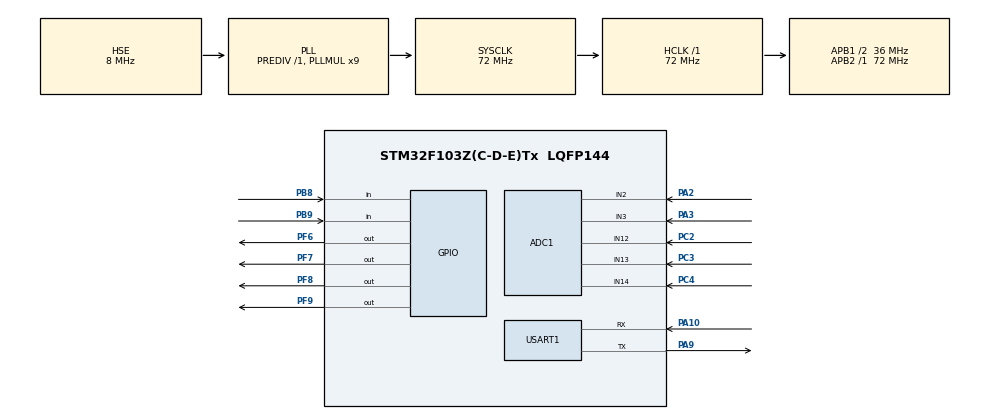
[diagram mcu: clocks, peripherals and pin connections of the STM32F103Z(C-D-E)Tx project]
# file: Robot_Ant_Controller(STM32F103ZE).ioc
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ADC1.Channel-0\#ChannelRegularConversion=ADC_CHANNEL_2
ADC1.Channel-1\#ChannelRegularConversion=ADC_CHANNEL_3
ADC1.Channel-2\#ChannelRegularConversion=ADC_CHANNEL_12
ADC1.Channel-3\#ChannelRegularConversion=ADC_CHANNEL_13
ADC1.Channel-4\#ChannelRegularConversion=ADC_CHANNEL_14
ADC1.ContinuousConvMode=ENABLE
ADC1.InjNumberOfConversion=0
ADC1.NbrOfConversion=5
ADC1.NbrOfConversionFlag=1
ADC1.Rank-0\#ChannelRegularConversion=1
ADC1.Rank-1\#ChannelRegularConversion=2
ADC1.Rank-2\#ChannelRegularConversion=3
ADC1.Rank-3\#ChannelRegularConversion=4
ADC1.Rank-4\#ChannelRegularConversion=5
ADC1.SamplingTime-0\#ChannelRegularConversion=ADC_SAMPLETIME_41CYCLES_5
ADC1.SamplingTime-1\#ChannelRegularConversion=ADC_SAMPLETIME_41CYCLES_5
ADC1.SamplingTime-2\#ChannelRegularConversion=ADC_SAMPLETIME_41CYCLES_5
ADC1.SamplingTime-3\#ChannelRegularConversion=ADC_SAMPLETIME_41CYCLES_5
ADC1.SamplingTime-4\#ChannelRegularConversion=ADC_SAMPLETIME_41CYCLES_5
ADC1.master=1
Dma.ADC1.0.Direction=DMA_PERIPH_TO_MEMORY
Dma.ADC1.0.Instance=DMA1_Channel1
Dma.ADC1.0.MemDataAlignment=DMA_MDATAALIGN_WORD
Dma.ADC1.0.MemInc=DMA_MINC_ENABLE
Dma.ADC1.0.Mode=DMA_CIRCULAR
Dma.ADC1.0.PeriphDataAlignment=DMA_PDATAALIGN_WORD
Dma.ADC1.0.PeriphInc=DMA_PINC_DISABLE
Dma.ADC1.0.Priority=DMA_PRIORITY_LOW
Dma.Request0=ADC1
Mcu.Family=STM32F1
Mcu.Name=STM32F103Z(C-D-E)Tx
Mcu.Package=LQFP144
NVIC.DMA1_Channel1_IRQn=true\:0\:0\:false\:false\:true\:false\:true\:true
NVIC.PriorityGroup=NVIC_PRIORITYGROUP_4
OSC_IN.Mode=HSE-External-Oscillator
OSC_IN.Signal=RCC_OSC_IN
OSC_OUT.Mode=HSE-External-Oscillator
OSC_OUT.Signal=RCC_OSC_OUT
PA10.Mode=Asynchronous
PA10.Signal=USART1_RX
PA13.Mode=JTAG_5_pins
PA13.Signal=SYS_JTMS-SWDIO
PA14.Mode=JTAG_5_pins
PA14.Signal=SYS_JTCK-SWCLK
PA15.Mode=JTAG_5_pins
PA15.Signal=SYS_JTDI
PA2.Signal=ADCx_IN2
PA3.Signal=ADCx_IN3
PA9.Mode=Asynchronous
PA9.Signal=USART1_TX
PB3.Mode=JTAG_5_pins
PB3.Signal=SYS_JTDO-TRACESWO
PB4.Mode=JTAG_5_pins
PB4.Signal=SYS_NJTRST
PB8.Signal=GPIO_Input
PB9.Signal=GPIO_Input
PC2.Signal=ADCx_IN12
PC3.Signal=ADCx_IN13
PC4.Signal=ADCx_IN14
PF6.Signal=GPIO_Output
PF7.Signal=GPIO_Output
PF8.Signal=GPIO_Output
PF9.Signal=GPIO_Output
ProjectManager.HeapSize=0x200
ProjectManager.StackSize=0x400
ProjectManager.TargetToolchain=MDK-ARM V5
RCC.ADCPresc=RCC_ADCPCLK2_DIV6
RCC.AHBFreq_Value=72000000
RCC.APB1CLKDivider=RCC_HCLK_DIV2
RCC.APB1Freq_Value=36000000
RCC.APB1TimFreq_Value=72000000
RCC.APB2Freq_Value=72000000
RCC.APB2TimFreq_Value=72000000
RCC.HCLKFreq_Value=72000000
RCC.PLLMUL=RCC_PLL_MUL9
RCC.PLLSourceVirtual=RCC_PLLSOURCE_HSE
RCC.SYSCLKFreq_VALUE=72000000
RCC.SYSCLKSource=RCC_SYSCLKSOURCE_PLLCLK
RCC.USBFreq_Value=72000000
SH.ADCx_IN12.0=ADC1_IN12,IN12
SH.ADCx_IN13.0=ADC1_IN13,IN13
SH.ADCx_IN14.0=ADC1_IN14,IN14
SH.ADCx_IN2.0=ADC1_IN2,IN2
SH.ADCx_IN3.0=ADC1_IN3,IN3
USART1.VirtualMode=VM_ASYNC
board=custom

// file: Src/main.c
/* USER CODE BEGIN Header */
/**
  ******************************************************************************
  * @file           : main.c
  * @brief          : Main program body
  ******************************************************************************
  * @attention
  *
  * Copyright (c) 2022 STMicroelectronics.
  * All rights reserved.
  *
  * This software is licensed under terms that can be found in the LICENSE file
  * in the root directory of this software component.
  * If no LICENSE file comes with this software, it is provided AS-IS.
  *
  ******************************************************************************
  */
/* USER CODE END Header */
#include "main.h"

ADC_HandleTypeDef hadc1;
DMA_HandleTypeDef hdma_adc1;

UART_HandleTypeDef huart1;

/* USER CODE BEGIN PV */
/* Private variables ---------------------------------------------------------*/

/* USER CODE END PV */

void SystemClock_Config(void);
static void MX_GPIO_Init(void);
static void MX_DMA_Init(void);
static void MX_ADC1_Init(void);
static void MX_USART1_UART_Init(void);
/* USER CODE BEGIN PFP */
/* Private function prototypes -----------------------------------------------*/

/* USER CODE END PFP */

/* USER CODE BEGIN 0 */
uint8_t str[7];
uint8_t sw1=0,sw2=0,Speed=0,delay=0,sw_clip=0;
uint32_t adc_temp[5];
uint32_t X1_Value=2048,Y1_Value=2048,X2_Value=0,Y2_Value=0,VR_Value=0;

void HAL_ADC_ConvCpltCallback(ADC_HandleTypeDef* hadc)
{
	X1_Value = adc_temp[0];
	Y1_Value = adc_temp[1];
	X2_Value = adc_temp[2];
	Y2_Value = adc_temp[3];
	VR_Value = adc_temp[4];
}

long map(long x, long in_min, long in_max, long out_min, long out_max)
{
  return (x - in_min) * (out_max - out_min) / (in_max - in_min) + out_min;
}

/* USER CODE END 0 */

int main(void)
{

  /* MCU Configuration--------------------------------------------------------*/

  /* Reset of all peripherals, Initializes the Flash interface and the Systick. */
  HAL_Init();

  /* Configure the system clock */
  SystemClock_Config();

  /* Initialize all configured peripherals */
  MX_GPIO_Init();
  MX_DMA_Init();
  MX_ADC1_Init();
  MX_USART1_UART_Init();
  /* USER CODE BEGIN 2 */
	HAL_ADC_Start_DMA(&hadc1,adc_temp,5);
	str[0] = 'S';
	HAL_GPIO_WritePin(GPIOF,GPIO_PIN_6, GPIO_PIN_RESET);
	HAL_GPIO_WritePin(GPIOF,GPIO_PIN_7, GPIO_PIN_RESET);
	HAL_GPIO_WritePin(GPIOF,GPIO_PIN_8, GPIO_PIN_RESET);
	HAL_GPIO_WritePin(GPIOF,GPIO_PIN_9, GPIO_PIN_RESET);
  /* USER CODE END 2 */

  /* Infinite loop */
  /* USER CODE BEGIN WHILE */
  while (1)
  {
		sw1 = HAL_GPIO_ReadPin(GPIOB,GPIO_PIN_8);
		sw2 = HAL_GPIO_ReadPin(GPIOB,GPIO_PIN_9);

		uint8_t angle1 = map(X2_Value,0,4095,0,180);
		uint8_t angle2 = map(Y2_Value,0,4095,0,180);
		uint8_t angle3 = map(VR_Value,0,4040,0,180);
		if(sw2==1)
		{
			sw_clip=~sw_clip;
			sw_clip&=0x01;
			while(HAL_GPIO_ReadPin(GPIOB,GPIO_PIN_9));
		}

		if(sw1==1)
		{ str[0] = 'S'; }
		else if(Y1_Value<=1000)
		{
			str[0] = 'F';
			if(delay++>=50)
			{
				delay = 0;
				if(Speed<5)
				{ Speed++; }
				HAL_GPIO_TogglePin(GPIOF,GPIO_PIN_8);
				HAL_GPIO_TogglePin(GPIOF,GPIO_PIN_7);
			}
		}
		else if(Y1_Value>=3000)
		{
			if(delay++>=50)
			{
				delay = 0;
				if(Speed>0)
				{ Speed--; }
				HAL_GPIO_TogglePin(GPIOF,GPIO_PIN_6);
				HAL_GPIO_TogglePin(GPIOF,GPIO_PIN_9);
			}
		}
		else if(X1_Value>=3000)
		{
			str[0] = 'R';
			if(delay++>=30)
			{
				delay = 0;
				HAL_GPIO_TogglePin(GPIOF,GPIO_PIN_6);
				HAL_GPIO_TogglePin(GPIOF,GPIO_PIN_7);
			}
		}
		else if(X1_Value<=1300)
		{
			str[0] = 'L';
			if(delay++>=30)
			{
				delay = 0;
				HAL_GPIO_TogglePin(GPIOF,GPIO_PIN_8);
				HAL_GPIO_TogglePin(GPIOF,GPIO_PIN_9);
			}
		}
		else
		{
			HAL_GPIO_WritePin(GPIOF,GPIO_PIN_6,GPIO_PIN_RESET);
			HAL_GPIO_WritePin(GPIOF,GPIO_PIN_7,GPIO_PIN_RESET);
			HAL_GPIO_WritePin(GPIOF,GPIO_PIN_8,GPIO_PIN_RESET);
			HAL_GPIO_WritePin(GPIOF,GPIO_PIN_9,GPIO_PIN_RESET);
		}

		str[1] = Speed;
		str[2] = angle1;
		str[3] = angle2;
		str[4] = angle3;
		str[5] = sw_clip;
		str[6] = 'E';
		HAL_UART_Transmit(&huart1,str,7,0xffF);
		HAL_Delay(10);
    /* USER CODE END WHILE */

  }
}

void SystemClock_Config(void)
{
  RCC_OscInitTypeDef RCC_OscInitStruct = {0};
  RCC_ClkInitTypeDef RCC_ClkInitStruct = {0};
  RCC_PeriphCLKInitTypeDef PeriphClkInit = {0};

  /** Initializes the RCC Oscillators according to the specified parameters
  * in the RCC_OscInitTypeDef structure.
  */
  RCC_OscInitStruct.OscillatorType = RCC_OSCILLATORTYPE_HSE;
  RCC_OscInitStruct.HSEState = RCC_HSE_ON;
  RCC_OscInitStruct.HSEPredivValue = RCC_HSE_PREDIV_DIV1;
  RCC_OscInitStruct.HSIState = RCC_HSI_ON;
  RCC_OscInitStruct.PLL.PLLState = RCC_PLL_ON;
  RCC_OscInitStruct.PLL.PLLSource = RCC_PLLSOURCE_HSE;
  RCC_OscInitStruct.PLL.PLLMUL = RCC_PLL_MUL9;
  if (HAL_RCC_OscConfig(&RCC_OscInitStruct) != HAL_OK)
  {
    Error_Handler();
  }

  /** Initializes the CPU, AHB and APB buses clocks
  */
  RCC_ClkInitStruct.ClockType = RCC_CLOCKTYPE_HCLK|RCC_CLOCKTYPE_SYSCLK
                              |RCC_CLOCKTYPE_PCLK1|RCC_CLOCKTYPE_PCLK2;
  RCC_ClkInitStruct.SYSCLKSource = RCC_SYSCLKSOURCE_PLLCLK;
  RCC_ClkInitStruct.AHBCLKDivider = RCC_SYSCLK_DIV1;
  RCC_ClkInitStruct.APB1CLKDivider = RCC_HCLK_DIV2;
  RCC_ClkInitStruct.APB2CLKDivider = RCC_HCLK_DIV1;

  if (HAL_RCC_ClockConfig(&RCC_ClkInitStruct, FLASH_LATENCY_2) != HAL_OK)
  {
    Error_Handler();
  }
  PeriphClkInit.PeriphClockSelection = RCC_PERIPHCLK_ADC;
  PeriphClkInit.AdcClockSelection = RCC_ADCPCLK2_DIV6;
  if (HAL_RCCEx_PeriphCLKConfig(&PeriphClkInit) != HAL_OK)
  {
    Error_Handler();
  }
}

static void MX_ADC1_Init(void)
{

  ADC_ChannelConfTypeDef sConfig = {0};

  /** Common config
  */
  hadc1.Instance = ADC1;
  hadc1.Init.ScanConvMode = ADC_SCAN_ENABLE;
  hadc1.Init.ContinuousConvMode = ENABLE;
  hadc1.Init.DiscontinuousConvMode = DISABLE;
  hadc1.Init.ExternalTrigConv = ADC_SOFTWARE_START;
  hadc1.Init.DataAlign = ADC_DATAALIGN_RIGHT;
  hadc1.Init.NbrOfConversion = 5;
  if (HAL_ADC_Init(&hadc1) != HAL_OK)
  {
    Error_Handler();
  }

  /** Configure Regular Channel
  */
  sConfig.Channel = ADC_CHANNEL_2;
  sConfig.Rank = ADC_REGULAR_RANK_1;
  sConfig.SamplingTime = ADC_SAMPLETIME_41CYCLES_5;
  if (HAL_ADC_ConfigChannel(&hadc1, &sConfig) != HAL_OK)
  {
    Error_Handler();
  }

  /** Configure Regular Channel
  */
  sConfig.Channel = ADC_CHANNEL_3;
  sConfig.Rank = ADC_REGULAR_RANK_2;
  if (HAL_ADC_ConfigChannel(&hadc1, &sConfig) != HAL_OK)
  {
    Error_Handler();
  }

  /** Configure Regular Channel
  */
  sConfig.Channel = ADC_CHANNEL_12;
  sConfig.Rank = ADC_REGULAR_RANK_3;
  if (HAL_ADC_ConfigChannel(&hadc1, &sConfig) != HAL_OK)
  {
    Error_Handler();
  }

  /** Configure Regular Channel
  */
  sConfig.Channel = ADC_CHANNEL_13;
  sConfig.Rank = ADC_REGULAR_RANK_4;
  if (HAL_ADC_ConfigChannel(&hadc1, &sConfig) != HAL_OK)
  {
    Error_Handler();
  }

  /** Configure Regular Channel
  */
  sConfig.Channel = ADC_CHANNEL_14;
  sConfig.Rank = ADC_REGULAR_RANK_5;
  if (HAL_ADC_ConfigChannel(&hadc1, &sConfig) != HAL_OK)
  {
    Error_Handler();
  }

}

static void MX_USART1_UART_Init(void)
{

  huart1.Instance = USART1;
  huart1.Init.BaudRate = 115200;
  huart1.Init.WordLength = UART_WORDLENGTH_8B;
  huart1.Init.StopBits = UART_STOPBITS_1;
  huart1.Init.Parity = UART_PARITY_NONE;
  huart1.Init.Mode = UART_MODE_TX_RX;
  huart1.Init.HwFlowCtl = UART_HWCONTROL_NONE;
  huart1.Init.OverSampling = UART_OVERSAMPLING_16;
  if (HAL_UART_Init(&huart1) != HAL_OK)
  {
    Error_Handler();
  }

}

static void MX_DMA_Init(void)
{

  /* DMA controller clock enable */
  __HAL_RCC_DMA1_CLK_ENABLE();

  /* DMA interrupt init */
  /* DMA1_Channel1_IRQn interrupt configuration */
  HAL_NVIC_SetPriority(DMA1_Channel1_IRQn, 0, 0);
  HAL_NVIC_EnableIRQ(DMA1_Channel1_IRQn);

}

static void MX_GPIO_Init(void)
{
  GPIO_InitTypeDef GPIO_InitStruct = {0};

  /* GPIO Ports Clock Enable */
  __HAL_RCC_GPIOF_CLK_ENABLE();
  __HAL_RCC_GPIOC_CLK_ENABLE();
  __HAL_RCC_GPIOA_CLK_ENABLE();
  __HAL_RCC_GPIOB_CLK_ENABLE();

  /*Configure GPIO pin Output Level */
  HAL_GPIO_WritePin(GPIOF, GPIO_PIN_6|GPIO_PIN_7|GPIO_PIN_8|GPIO_PIN_9, GPIO_PIN_RESET);

  /*Configure GPIO pins : PF6 PF7 PF8 PF9 */
  GPIO_InitStruct.Pin = GPIO_PIN_6|GPIO_PIN_7|GPIO_PIN_8|GPIO_PIN_9;
  GPIO_InitStruct.Mode = GPIO_MODE_OUTPUT_PP;
  GPIO_InitStruct.Pull = GPIO_NOPULL;
  GPIO_InitStruct.Speed = GPIO_SPEED_FREQ_LOW;
  HAL_GPIO_Init(GPIOF, &GPIO_InitStruct);

  /*Configure GPIO pins : PB8 PB9 */
  GPIO_InitStruct.Pin = GPIO_PIN_8|GPIO_PIN_9;
  GPIO_InitStruct.Mode = GPIO_MODE_INPUT;
  GPIO_InitStruct.Pull = GPIO_NOPULL;
  HAL_GPIO_Init(GPIOB, &GPIO_InitStruct);

}

void Error_Handler(void)
{
  while(1)
  {
  }
}
